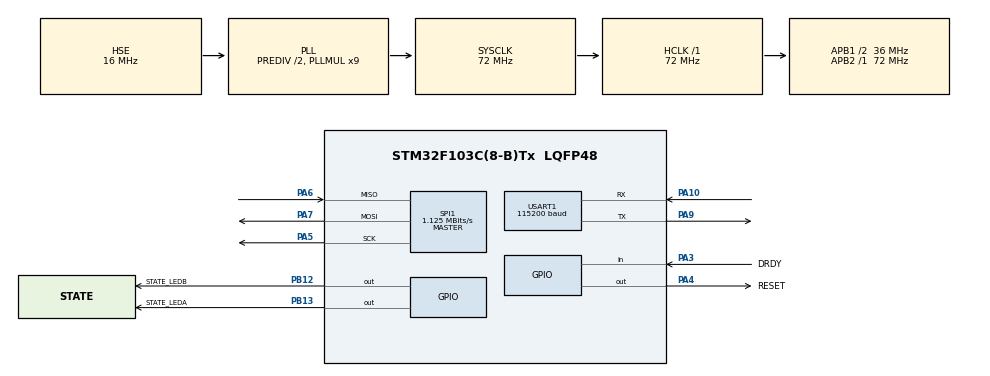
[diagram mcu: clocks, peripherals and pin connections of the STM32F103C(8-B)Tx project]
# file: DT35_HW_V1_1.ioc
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Dma.Request0=USART1_TX
Dma.USART1_TX.0.Direction=DMA_MEMORY_TO_PERIPH
Dma.USART1_TX.0.Instance=DMA1_Channel4
Dma.USART1_TX.0.MemDataAlignment=DMA_MDATAALIGN_BYTE
Dma.USART1_TX.0.MemInc=DMA_MINC_ENABLE
Dma.USART1_TX.0.Mode=DMA_NORMAL
Dma.USART1_TX.0.PeriphDataAlignment=DMA_PDATAALIGN_BYTE
Dma.USART1_TX.0.PeriphInc=DMA_PINC_DISABLE
Dma.USART1_TX.0.Priority=DMA_PRIORITY_LOW
Mcu.Family=STM32F1
Mcu.Name=STM32F103C(8-B)Tx
Mcu.Package=LQFP48
NVIC.DMA1_Channel4_IRQn=true\:0\:0\:false\:false\:true\:false\:true\:true
NVIC.PriorityGroup=NVIC_PRIORITYGROUP_4
NVIC.TIM2_IRQn=true\:0\:0\:false\:false\:true\:true\:true\:true
NVIC.TIM4_IRQn=true\:0\:0\:false\:false\:true\:true\:true\:true
NVIC.USART1_IRQn=true\:0\:0\:false\:false\:true\:false\:true\:true
PA10.Mode=Asynchronous
PA10.Signal=USART1_RX
PA13.Mode=Serial_Wire
PA13.Signal=SYS_JTMS-SWDIO
PA14.Mode=Serial_Wire
PA14.Signal=SYS_JTCK-SWCLK
PA3.GPIO_Label=DRDY
PA3.Signal=GPIO_Input
PA4.GPIO_Label=RESET
PA4.Signal=GPIO_Output
PA5.Mode=Full_Duplex_Master
PA5.Signal=SPI1_SCK
PA6.Mode=Full_Duplex_Master
PA6.Signal=SPI1_MISO
PA7.Mode=Full_Duplex_Master
PA7.Signal=SPI1_MOSI
PA9.Mode=Asynchronous
PA9.Signal=USART1_TX
PB12.GPIO_Label=STATE_LEDB
PB12.Signal=GPIO_Output
PB13.GPIO_Label=STATE_LEDA
PB13.Signal=GPIO_Output
PD0-OSC_IN.Mode=HSE-External-Oscillator
PD0-OSC_IN.Signal=RCC_OSC_IN
PD1-OSC_OUT.Mode=HSE-External-Oscillator
PD1-OSC_OUT.Signal=RCC_OSC_OUT
ProjectManager.HeapSize=0x200
ProjectManager.StackSize=0x400
ProjectManager.TargetToolchain=Makefile
RCC.AHBFreq_Value=72000000
RCC.APB1CLKDivider=RCC_HCLK_DIV2
RCC.APB1Freq_Value=36000000
RCC.APB1TimFreq_Value=72000000
RCC.APB2Freq_Value=72000000
RCC.APB2TimFreq_Value=72000000
RCC.HCLKFreq_Value=72000000
RCC.HSEDivPLL=RCC_HSE_PREDIV_DIV2
RCC.HSE_VALUE=16000000
RCC.PLLMUL=RCC_PLL_MUL9
RCC.PLLSourceVirtual=RCC_PLLSOURCE_HSE
RCC.SYSCLKFreq_VALUE=72000000
RCC.SYSCLKSource=RCC_SYSCLKSOURCE_PLLCLK
RCC.USBFreq_Value=72000000
SPI1.BaudRatePrescaler=SPI_BAUDRATEPRESCALER_64
SPI1.CLKPhase=SPI_PHASE_2EDGE
SPI1.CalculateBaudRate=1.125 MBits/s
SPI1.Direction=SPI_DIRECTION_2LINES
SPI1.Mode=SPI_MODE_MASTER
SPI1.VirtualType=VM_MASTER
TIM2.Period=5000-1
TIM2.Prescaler=72-1
TIM3.Period=1000-1
TIM3.Prescaler=72-1
TIM4.Period=1000-1
TIM4.Prescaler=16000-1
USART1.BaudRate=115200
USART1.VirtualMode=VM_ASYNC
VP_TIM2_VS_ClockSourceINT.Mode=Internal
VP_TIM3_VS_ClockSourceINT.Mode=Internal
VP_TIM4_VS_ClockSourceINT.Mode=Internal
board=custom

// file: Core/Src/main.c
/* USER CODE BEGIN Header */
/**
 ******************************************************************************
 * @file           : main.c
 * @brief          : Main program body
 ******************************************************************************
 * @attention
 *
 * Copyright (c) 2024 STMicroelectronics.
 * All rights reserved.
 *
 * This software is licensed under terms that can be found in the LICENSE file
 * in the root directory of this software component.
 * If no LICENSE file comes with this software, it is provided AS-IS.
 *
 ******************************************************************************
 */
/**
 * @file    DT35 Hardware V1.1
 * @author  WQ.Y.(software)/HQ.L.(hardware)
 * @test    SSC
 */
/* USER CODE END Header */
#include "main.h"
#include "dma.h"
#include "spi.h"
#include "tim.h"
#include "usart.h"
#include "gpio.h"

/* USER CODE BEGIN Includes */
#include "ads1256.h"
#include "led.h"
// #include "user_printf.h"
#include "app.h"
/* USER CODE END Includes */

void SystemClock_Config(void);

/* USER CODE BEGIN 0 */
uint8_t ad_channel1_data[4];
uint8_t ad_channel2_data[4];
uint8_t ad_channel3_data[4];
uint8_t ad_channel4_data[4];
/* USER CODE END 0 */

int main(void)
{

    /* MCU Configuration--------------------------------------------------------*/

    /* Reset of all peripherals, Initializes the Flash interface and the Systick. */
    HAL_Init();

    /* Configure the system clock */
    SystemClock_Config();

    /* Initialize all configured peripherals */
    MX_GPIO_Init();
    MX_DMA_Init();
    MX_USART1_UART_Init();
    MX_SPI1_Init();
    MX_TIM4_Init();
    MX_TIM3_Init();
    MX_TIM2_Init();
    /* USER CODE BEGIN 2 */
    // 运行LED启动
    HAL_TIM_Base_Start_IT(&htim4);
    // Test
    // RetargetInit(&huart1);
    // ADS1256 初始化
    state = 1;
    ADS1256_Init();
    state = 0;
    // 200Hz AD转换+上传任务
    HAL_TIM_Base_Start_IT(&htim2);
    /* USER CODE END 2 */

    /* Infinite loop */
    while (1) {

        /* USER CODE BEGIN 3 */
        if (flag == 1) {
            ADS1256_UpdateDiffData();
            int32_to_4uint8(AD_diff_data[0], ad_channel1_data);
            int32_to_4uint8(AD_diff_data[1], ad_channel2_data);
            int32_to_4uint8(AD_diff_data[2], ad_channel3_data);
            int32_to_4uint8(AD_diff_data[3], ad_channel4_data);
            uart_send(ad_channel1_data, ad_channel2_data, ad_channel3_data, ad_channel4_data);
            flag = 0;
        }
        // printf("%ld\r\n",AD_diff_data[1]);
        // HAL_Delay(1);
    }
    /* USER CODE END 3 */
}

void SystemClock_Config(void)
{
    RCC_OscInitTypeDef RCC_OscInitStruct = {0};
    RCC_ClkInitTypeDef RCC_ClkInitStruct = {0};

    /** Initializes the RCC Oscillators according to the specified parameters
     * in the RCC_OscInitTypeDef structure.
     */
    RCC_OscInitStruct.OscillatorType = RCC_OSCILLATORTYPE_HSE;
    RCC_OscInitStruct.HSEState       = RCC_HSE_ON;
    RCC_OscInitStruct.HSEPredivValue = RCC_HSE_PREDIV_DIV2;
    RCC_OscInitStruct.HSIState       = RCC_HSI_ON;
    RCC_OscInitStruct.PLL.PLLState   = RCC_PLL_ON;
    RCC_OscInitStruct.PLL.PLLSource  = RCC_PLLSOURCE_HSE;
    RCC_OscInitStruct.PLL.PLLMUL     = RCC_PLL_MUL9;
    if (HAL_RCC_OscConfig(&RCC_OscInitStruct) != HAL_OK) {
        Error_Handler();
    }

    /** Initializes the CPU, AHB and APB buses clocks
     */
    RCC_ClkInitStruct.ClockType      = RCC_CLOCKTYPE_HCLK | RCC_CLOCKTYPE_SYSCLK | RCC_CLOCKTYPE_PCLK1 | RCC_CLOCKTYPE_PCLK2;
    RCC_ClkInitStruct.SYSCLKSource   = RCC_SYSCLKSOURCE_PLLCLK;
    RCC_ClkInitStruct.AHBCLKDivider  = RCC_SYSCLK_DIV1;
    RCC_ClkInitStruct.APB1CLKDivider = RCC_HCLK_DIV2;
    RCC_ClkInitStruct.APB2CLKDivider = RCC_HCLK_DIV1;

    if (HAL_RCC_ClockConfig(&RCC_ClkInitStruct, FLASH_LATENCY_2) != HAL_OK) {
        Error_Handler();
    }
}

void Error_Handler(void)
{
    __disable_irq();
    while (1) {
    }
}
